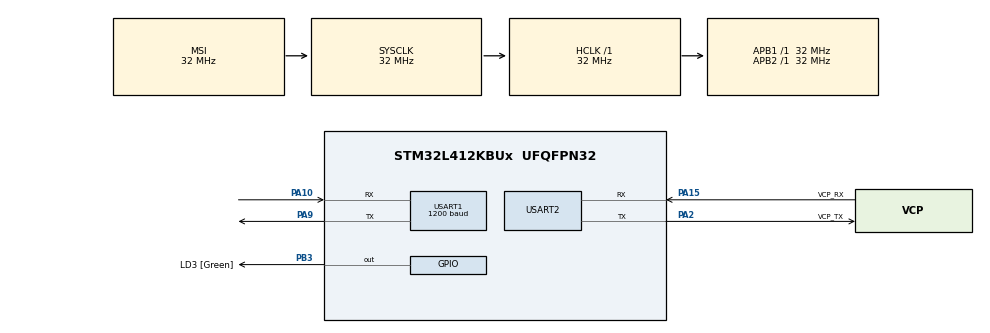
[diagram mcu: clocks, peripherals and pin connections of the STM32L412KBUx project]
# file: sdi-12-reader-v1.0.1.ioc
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Mcu.Family=STM32L4
Mcu.Name=STM32L412KBUx
Mcu.Package=UFQFPN32
NVIC.PriorityGroup=NVIC_PRIORITYGROUP_4
PA0-CK_IN.Mode=HSE-External-Clock-Source-for-LittleOrca
PA0-CK_IN.Signal=RCC_CK_IN
PA10.Mode=Asynchronous
PA10.Signal=USART1_RX
PA13\ (JTMS/SWDIO).GPIO_Label=SWDIO
PA13\ (JTMS/SWDIO).Mode=Serial_Wire
PA13\ (JTMS/SWDIO).Signal=SYS_JTMS-SWDIO
PA14\ (JTCK/SWCLK).GPIO_Label=SWCLK
PA14\ (JTCK/SWCLK).Mode=Serial_Wire
PA14\ (JTCK/SWCLK).Signal=SYS_JTCK-SWCLK
PA15\ (JTDI).GPIO_Label=VCP_RX
PA15\ (JTDI).Mode=Asynchronous
PA15\ (JTDI).Signal=USART2_RX
PA2.GPIO_Label=VCP_TX
PA2.Mode=Asynchronous
PA2.Signal=USART2_TX
PA9.Mode=Asynchronous
PA9.Signal=USART1_TX
PB3\ (JTDO/TRACESWO).GPIO_Label=LD3 [Green]
PB3\ (JTDO/TRACESWO).Signal=GPIO_Output
PC14-OSC32_IN\ (PC14).Mode=LSE-External-Oscillator
PC14-OSC32_IN\ (PC14).Signal=RCC_OSC32_IN
PC15-OSC32_OUT\ (PC15).Mode=LSE-External-Oscillator
PC15-OSC32_OUT\ (PC15).Signal=RCC_OSC32_OUT
ProjectManager.HeapSize=0x200
ProjectManager.StackSize=0x400
ProjectManager.TargetToolchain=STM32CubeIDE
RCC.ADCFreq_Value=32000000
RCC.AHBFreq_Value=32000000
RCC.APB1Freq_Value=32000000
RCC.APB1TimFreq_Value=32000000
RCC.APB2Freq_Value=32000000
RCC.APB2TimFreq_Value=32000000
RCC.CortexFreq_Value=32000000
RCC.FLatency=FLASH_LATENCY_1
RCC.HCLKFreq_Value=32000000
RCC.HSE_VALUE=8000000
RCC.HSI48_VALUE=48000000
RCC.HSICalibrationValue=16
RCC.HSI_VALUE=16000000
RCC.LSE_Drive_Capability=RCC_LSEDRIVE_LOW
RCC.MSIClockRange=RCC_MSIRANGE_10
RCC.MSI_VALUE=32000000
RCC.SYSCLKFreq_VALUE=32000000
RCC.USBFreq_Value=32000000
RCC.VCOOutputFreq_Value=256000000
USART1.BaudRate=1200
USART1.Parity=PARITY_EVEN
USART1.RxPinLevelInvertParam=ADVFEATURE_RXINV_ENABLE
USART1.SwapParam=ADVFEATURE_SWAP_ENABLE
USART1.TxPinLevelInvertParam=ADVFEATURE_TXINV_ENABLE
USART1.VirtualMode-Asynchronous=VM_ASYNC
USART1.WordLength=WORDLENGTH_8B
USART2.VirtualMode-Asynchronous=VM_ASYNC
board=NUCLEO-L412KB

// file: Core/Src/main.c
/* USER CODE BEGIN Header */
/**
  ******************************************************************************
  * @file           : main.c
  * @brief          : Main program body
  ******************************************************************************
  * @attention
  *
  * <h2><center>&copy; Copyright (c) 2020 STMicroelectronics.
  * All rights reserved.</center></h2>
  *
  * This software component is licensed by ST under BSD 3-Clause license,
  * the "License"; You may not use this file except in compliance with the
  * License. You may obtain a copy of the License at:
  *                        opensource.org/licenses/BSD-3-Clause
  *
  ******************************************************************************
  */
/* USER CODE END Header */

#include "main.h"

/* USER CODE BEGIN Includes */
#include "sdi12.h"
/* USER CODE END Includes */

/* USER CODE BEGIN PD */
#ifdef __GNUC__
/* With GCC/RAISONANCE, small printf (option LD Linker->Libraries->Small printf
 set to 'Yes') calls __io_putchar() */
#define PUTCHAR_PROTOTYPE int __io_putchar(int ch)
#else
#define PUTCHAR_PROTOTYPE int fputc(int ch, FILE *f)
#endif /* __GNUC__ */
/* USER CODE END PD */

UART_HandleTypeDef huart1;
UART_HandleTypeDef huart2;

void SystemClock_Config(void);
static void MX_GPIO_Init(void);
static void MX_USART2_UART_Init(void);
static void MX_USART1_UART_Init(void);

int main(void)
{

  /* MCU Configuration--------------------------------------------------------*/

  /* Reset of all peripherals, Initializes the Flash interface and the Systick. */
  HAL_Init();

  /* Configure the system clock */
  SystemClock_Config();

  /* Initialize all configured peripherals */
  MX_GPIO_Init();
  MX_USART2_UART_Init();
  MX_USART1_UART_Init();
  /* USER CODE BEGIN 2 */
  SDI12_Init(huart1);
  GPIO_InitTypeDef GPIO_InitStruct = {0};

  GPIO_InitStruct.Pin = GPIO_PIN_9;
  GPIO_InitStruct.Mode = GPIO_MODE_OUTPUT_PP;
  GPIO_InitStruct.Pull = GPIO_NOPULL;
  GPIO_InitStruct.Speed = GPIO_SPEED_FREQ_LOW;
  HAL_GPIO_Init(GPIOA, &GPIO_InitStruct);
  HAL_GPIO_WritePin(GPIOA, GPIO_PIN_9, GPIO_PIN_RESET);
  /* USER CODE END 2 */

  /* Infinite loop */
  /* USER CODE BEGIN WHILE */

  printf("\r\n************************ SDI-12 Reader v1.0.0 ************************\r\n");

  HAL_Delay(4000);

  char sensor_rxBuffer[100];

  SDI12_GetInfo('1',(char*)sensor_rxBuffer);

  printf("<< SENSOR INFO: %s\r\n",sensor_rxBuffer);

  HAL_Delay(2000);

//  SDI12_QueryAddress('1',(char*)&sensor_rxBuffer);
//  printf("<< SENSOR ADDRESS: %s\r\n",sensor_rxBuffer);

//  HAL_Delay(2000);

//  SDI12_Measure('1', (char*)&sensor_rxBuffer);
//  printf("<< SENSOR TIME: %s\r\n",sensor_rxBuffer);

 // HAL_Delay(2000);

  //char vwc[10], ec[10], temperature[10], permittivity[10], period[10], voltageRatio[10];
  int32_t vwc, ec, temperature;

  SDI12_GetData('1', (int32_t*)&vwc,(int32_t*)&ec,(int32_t*)&temperature);

  printf("VWC - %l\r\n",vwc);
  printf("EC - %l\r\n",ec);
  printf("TEMPERATURE - %l\r\n",temperature);

/*@TODO Convert String to VWC - Volumetric Water Content, EC - Electrical Conductivity, T - Temperature,
  P - Permittivity and VR - Voltage Ratio */

//  SDI12_Send_Command((uint8_t*)&SDI12_Command_GetData_0, (uint8_t*)&sensor_rxBuffer, 5000);
  //printf("<< SENSOR DATA: %s\r\n",sensor_rxBuffer);

  printf("<< Debug End\r\n");

  HAL_GPIO_WritePin(GPIOB,LD3_Pin,GPIO_PIN_SET);

  while (1)
  {
    /* USER CODE END WHILE */

  }
}

void SystemClock_Config(void)
{
  RCC_OscInitTypeDef RCC_OscInitStruct = {0};
  RCC_ClkInitTypeDef RCC_ClkInitStruct = {0};
  RCC_PeriphCLKInitTypeDef PeriphClkInit = {0};

  /** Configure LSE Drive Capability
  */
  HAL_PWR_EnableBkUpAccess();
  __HAL_RCC_LSEDRIVE_CONFIG(RCC_LSEDRIVE_LOW);
  /** Configure the main internal regulator output voltage
  */
  if (HAL_PWREx_ControlVoltageScaling(PWR_REGULATOR_VOLTAGE_SCALE1) != HAL_OK)
  {
    Error_Handler();
  }
  /** Initializes the CPU, AHB and APB busses clocks
  */
  RCC_OscInitStruct.OscillatorType = RCC_OSCILLATORTYPE_LSE|RCC_OSCILLATORTYPE_MSI;
  RCC_OscInitStruct.LSEState = RCC_LSE_ON;
  RCC_OscInitStruct.MSIState = RCC_MSI_ON;
  RCC_OscInitStruct.MSICalibrationValue = 0;
  RCC_OscInitStruct.MSIClockRange = RCC_MSIRANGE_10;
  RCC_OscInitStruct.PLL.PLLState = RCC_PLL_NONE;
  if (HAL_RCC_OscConfig(&RCC_OscInitStruct) != HAL_OK)
  {
    Error_Handler();
  }
  /** Initializes the CPU, AHB and APB busses clocks
  */
  RCC_ClkInitStruct.ClockType = RCC_CLOCKTYPE_HCLK|RCC_CLOCKTYPE_SYSCLK
                              |RCC_CLOCKTYPE_PCLK1|RCC_CLOCKTYPE_PCLK2;
  RCC_ClkInitStruct.SYSCLKSource = RCC_SYSCLKSOURCE_MSI;
  RCC_ClkInitStruct.AHBCLKDivider = RCC_SYSCLK_DIV1;
  RCC_ClkInitStruct.APB1CLKDivider = RCC_HCLK_DIV1;
  RCC_ClkInitStruct.APB2CLKDivider = RCC_HCLK_DIV1;

  if (HAL_RCC_ClockConfig(&RCC_ClkInitStruct, FLASH_LATENCY_1) != HAL_OK)
  {
    Error_Handler();
  }
  PeriphClkInit.PeriphClockSelection = RCC_PERIPHCLK_USART1|RCC_PERIPHCLK_USART2;
  PeriphClkInit.Usart1ClockSelection = RCC_USART1CLKSOURCE_PCLK2;
  PeriphClkInit.Usart2ClockSelection = RCC_USART2CLKSOURCE_PCLK1;
  if (HAL_RCCEx_PeriphCLKConfig(&PeriphClkInit) != HAL_OK)
  {
    Error_Handler();
  }
  /** Enable MSI Auto calibration
  */
  HAL_RCCEx_EnableMSIPLLMode();
}

static void MX_USART1_UART_Init(void)
{

  huart1.Instance = USART1;
  huart1.Init.BaudRate = 1200;
  huart1.Init.WordLength = UART_WORDLENGTH_8B;
  huart1.Init.StopBits = UART_STOPBITS_1;
  huart1.Init.Parity = UART_PARITY_EVEN;
  huart1.Init.Mode = UART_MODE_TX_RX;
  huart1.Init.HwFlowCtl = UART_HWCONTROL_NONE;
  huart1.Init.OverSampling = UART_OVERSAMPLING_16;
  huart1.Init.OneBitSampling = UART_ONE_BIT_SAMPLE_DISABLE;
  huart1.AdvancedInit.AdvFeatureInit = UART_ADVFEATURE_TXINVERT_INIT|UART_ADVFEATURE_RXINVERT_INIT
                              |UART_ADVFEATURE_SWAP_INIT;
  huart1.AdvancedInit.TxPinLevelInvert = UART_ADVFEATURE_TXINV_ENABLE;
  huart1.AdvancedInit.RxPinLevelInvert = UART_ADVFEATURE_RXINV_ENABLE;
  huart1.AdvancedInit.Swap = UART_ADVFEATURE_SWAP_DISABLE;
  if (HAL_UART_Init(&huart1) != HAL_OK)
  {
    Error_Handler();
  }

}

static void MX_USART2_UART_Init(void)
{

  huart2.Instance = USART2;
  huart2.Init.BaudRate = 115200;
  huart2.Init.WordLength = UART_WORDLENGTH_8B;
  huart2.Init.StopBits = UART_STOPBITS_1;
  huart2.Init.Parity = UART_PARITY_NONE;
  huart2.Init.Mode = UART_MODE_TX_RX;
  huart2.Init.HwFlowCtl = UART_HWCONTROL_NONE;
  huart2.Init.OverSampling = UART_OVERSAMPLING_16;
  huart2.Init.OneBitSampling = UART_ONE_BIT_SAMPLE_DISABLE;
  huart2.AdvancedInit.AdvFeatureInit = UART_ADVFEATURE_NO_INIT;
  if (HAL_UART_Init(&huart2) != HAL_OK)
  {
    Error_Handler();
  }

}

static void MX_GPIO_Init(void)
{
  GPIO_InitTypeDef GPIO_InitStruct = {0};

  /* GPIO Ports Clock Enable */
  __HAL_RCC_GPIOC_CLK_ENABLE();
  __HAL_RCC_GPIOA_CLK_ENABLE();
  __HAL_RCC_GPIOB_CLK_ENABLE();

  /*Configure GPIO pin Output Level */
  HAL_GPIO_WritePin(LD3_GPIO_Port, LD3_Pin, GPIO_PIN_RESET);

  /*Configure GPIO pin : LD3_Pin */
  GPIO_InitStruct.Pin = LD3_Pin;
  GPIO_InitStruct.Mode = GPIO_MODE_OUTPUT_PP;
  GPIO_InitStruct.Pull = GPIO_NOPULL;
  GPIO_InitStruct.Speed = GPIO_SPEED_FREQ_LOW;
  HAL_GPIO_Init(LD3_GPIO_Port, &GPIO_InitStruct);

}

/* USER CODE BEGIN 4 */
/**
 * @brief Retargets the C library printf function to the USART.
 * @param None
 * @retval None
 */
PUTCHAR_PROTOTYPE
{
 /* Place your implementation of fputc here */
 /* e.g. write a character to the USART2 and Loop until the end of transmission */
 HAL_UART_Transmit(&huart2, (uint8_t *)&ch, 1, 0xFFFF);

return ch;
}
/* USER CODE END 4 */

void Error_Handler(void)
{
}

/************************ (C) COPYRIGHT STMicroelectronics *****END OF FILE****/
